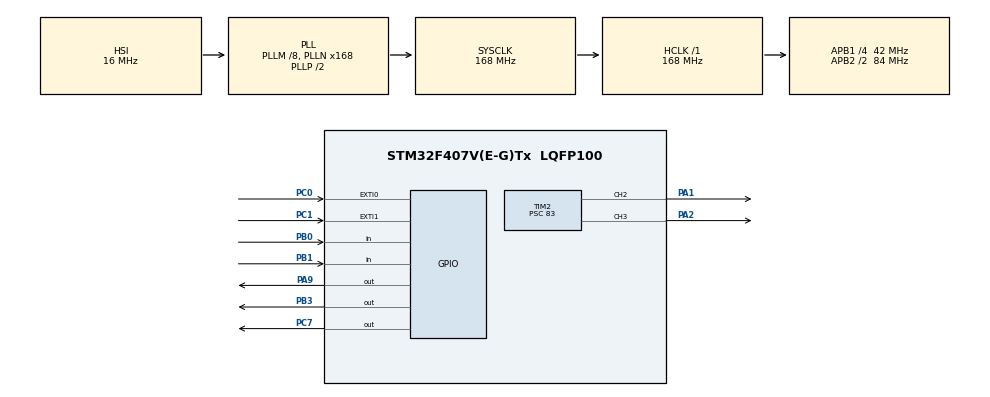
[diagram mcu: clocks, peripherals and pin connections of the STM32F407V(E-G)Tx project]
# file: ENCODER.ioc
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Mcu.Family=STM32F4
Mcu.Name=STM32F407V(E-G)Tx
Mcu.Package=LQFP100
NVIC.PriorityGroup=NVIC_PRIORITYGROUP_4
PA1.Signal=S_TIM2_CH2
PA13.Mode=Serial_Wire
PA13.Signal=SYS_JTMS-SWDIO
PA14.Mode=Serial_Wire
PA14.Signal=SYS_JTCK-SWCLK
PA2.Signal=S_TIM2_CH3
PA9.Signal=GPIO_Output
PB0.GPIO_PuPd=GPIO_PULLUP
PB0.Signal=GPIO_Input
PB1.GPIO_PuPd=GPIO_PULLUP
PB1.Signal=GPIO_Input
PB3.Signal=GPIO_Output
PC0.GPIO_ModeDefaultEXTI=GPIO_MODE_IT_RISING_FALLING
PC0.GPIO_PuPd=GPIO_PULLUP
PC0.Signal=GPXTI0
PC1.GPIO_ModeDefaultEXTI=GPIO_MODE_IT_RISING_FALLING
PC1.GPIO_PuPd=GPIO_PULLUP
PC1.Signal=GPXTI1
PC7.Signal=GPIO_Output
ProjectManager.HeapSize=0x200
ProjectManager.StackSize=0x400
ProjectManager.TargetToolchain=STM32CubeIDE
RCC.48MHZClocksFreq_Value=84000000
RCC.AHBFreq_Value=168000000
RCC.APB1CLKDivider=RCC_HCLK_DIV4
RCC.APB1Freq_Value=42000000
RCC.APB1TimFreq_Value=84000000
RCC.APB2CLKDivider=RCC_HCLK_DIV2
RCC.APB2Freq_Value=84000000
RCC.APB2TimFreq_Value=168000000
RCC.CortexFreq_Value=168000000
RCC.HCLKFreq_Value=168000000
RCC.HSE_VALUE=25000000
RCC.HSI_VALUE=16000000
RCC.LSE_VALUE=32768
RCC.PLLM=8
RCC.PLLN=168
RCC.SYSCLKFreq_VALUE=168000000
RCC.SYSCLKSource=RCC_SYSCLKSOURCE_PLLCLK
RCC.VCOOutputFreq_Value=336000000
SH.S_TIM2_CH2.0=TIM2_CH2,PWM Generation2 CH2
SH.S_TIM2_CH3.0=TIM2_CH3,PWM Generation3 CH3
TIM2.Channel-PWM\ Generation2\ CH2=TIM_CHANNEL_2
TIM2.Channel-PWM\ Generation3\ CH3=TIM_CHANNEL_3
TIM2.Period=1249
TIM2.Prescaler=83
board=custom

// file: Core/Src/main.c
/* USER CODE BEGIN Header */
/**
  ******************************************************************************
  * @file           : main.c
  * @brief          : Main program body
  ******************************************************************************
  * @attention
  *
  * Copyright (c) 2025 STMicroelectronics.
  * All rights reserved.
  *
  * This software is licensed under terms that can be found in the LICENSE file
  * in the root directory of this software component.
  * If no LICENSE file comes with this software, it is provided AS-IS.
  *
  ******************************************************************************
  */
/* USER CODE END Header */
#include "main.h"

/* USER CODE BEGIN Includes */
#include "PID_motor.h"
/* USER CODE END Includes */

TIM_HandleTypeDef htim2;

void SystemClock_Config(void);
static void MX_GPIO_Init(void);
static void MX_TIM2_Init(void);

/* USER CODE BEGIN 0 */
volatile uint8_t A_state = 0, B_state = 0;
volatile uint8_t A2_state = 0, B2_state = 0;
volatile int encoder_value = 0;
volatile int encoder2_value = 0;

void HAL_GPIO_EXTI_Callback(uint16_t GPIO_Pin)
{
    if (GPIO_Pin == GPIO_PIN_0) // Encoder 1
    {
        A_state = HAL_GPIO_ReadPin(GPIOC, GPIO_PIN_0);
        B_state = HAL_GPIO_ReadPin(GPIOB, GPIO_PIN_0);
        if (A_state != B_state) encoder_value++;
        else encoder_value--;
    }
    else if (GPIO_Pin == GPIO_PIN_1) // Encoder 2
    {
        A2_state = HAL_GPIO_ReadPin(GPIOC, GPIO_PIN_1);
        B2_state = HAL_GPIO_ReadPin(GPIOB, GPIO_PIN_1);
        if (A2_state != B2_state) encoder2_value++;
        else encoder2_value--;
    }
}

/* USER CODE END 0 */

int main(void)
{

  /* MCU Configuration--------------------------------------------------------*/

  /* Reset of all peripherals, Initializes the Flash interface and the Systick. */
  HAL_Init();

  /* Configure the system clock */
  SystemClock_Config();

  /* Initialize all configured peripherals */
  MX_GPIO_Init();
  MX_TIM2_Init();
  /* USER CODE BEGIN 2 */

	/* Start Timer and its channels for the motor driver */
	HAL_TIM_Base_Start(&htim2);
	HAL_TIM_PWM_Start(&htim2, TIM_CHANNEL_2);
	HAL_TIM_PWM_Start(&htim2, TIM_CHANNEL_3);

	HAL_GPIO_WritePin(GPIOB, GPIO_PIN_3, 1);

  /* USER CODE END 2 */

  /* Infinite loop */
  while (1)
  {

  }
}

void SystemClock_Config(void)
{
  RCC_OscInitTypeDef RCC_OscInitStruct = {0};
  RCC_ClkInitTypeDef RCC_ClkInitStruct = {0};

  /** Configure the main internal regulator output voltage
  */
  __HAL_RCC_PWR_CLK_ENABLE();
  __HAL_PWR_VOLTAGESCALING_CONFIG(PWR_REGULATOR_VOLTAGE_SCALE1);

  /** Initializes the RCC Oscillators according to the specified parameters
  * in the RCC_OscInitTypeDef structure.
  */
  RCC_OscInitStruct.OscillatorType = RCC_OSCILLATORTYPE_HSI;
  RCC_OscInitStruct.HSIState = RCC_HSI_ON;
  RCC_OscInitStruct.HSICalibrationValue = RCC_HSICALIBRATION_DEFAULT;
  RCC_OscInitStruct.PLL.PLLState = RCC_PLL_ON;
  RCC_OscInitStruct.PLL.PLLSource = RCC_PLLSOURCE_HSI;
  RCC_OscInitStruct.PLL.PLLM = 8;
  RCC_OscInitStruct.PLL.PLLN = 168;
  RCC_OscInitStruct.PLL.PLLP = RCC_PLLP_DIV2;
  RCC_OscInitStruct.PLL.PLLQ = 4;
  if (HAL_RCC_OscConfig(&RCC_OscInitStruct) != HAL_OK)
  {
    Error_Handler();
  }

  /** Initializes the CPU, AHB and APB buses clocks
  */
  RCC_ClkInitStruct.ClockType = RCC_CLOCKTYPE_HCLK|RCC_CLOCKTYPE_SYSCLK
                              |RCC_CLOCKTYPE_PCLK1|RCC_CLOCKTYPE_PCLK2;
  RCC_ClkInitStruct.SYSCLKSource = RCC_SYSCLKSOURCE_PLLCLK;
  RCC_ClkInitStruct.AHBCLKDivider = RCC_SYSCLK_DIV1;
  RCC_ClkInitStruct.APB1CLKDivider = RCC_HCLK_DIV4;
  RCC_ClkInitStruct.APB2CLKDivider = RCC_HCLK_DIV2;

  if (HAL_RCC_ClockConfig(&RCC_ClkInitStruct, FLASH_LATENCY_5) != HAL_OK)
  {
    Error_Handler();
  }
}

static void MX_TIM2_Init(void)
{

  TIM_MasterConfigTypeDef sMasterConfig = {0};
  TIM_OC_InitTypeDef sConfigOC = {0};

  htim2.Instance = TIM2;
  htim2.Init.Prescaler = 83;
  htim2.Init.CounterMode = TIM_COUNTERMODE_UP;
  htim2.Init.Period = 1249;
  htim2.Init.ClockDivision = TIM_CLOCKDIVISION_DIV1;
  htim2.Init.AutoReloadPreload = TIM_AUTORELOAD_PRELOAD_DISABLE;
  if (HAL_TIM_PWM_Init(&htim2) != HAL_OK)
  {
    Error_Handler();
  }
  sMasterConfig.MasterOutputTrigger = TIM_TRGO_RESET;
  sMasterConfig.MasterSlaveMode = TIM_MASTERSLAVEMODE_DISABLE;
  if (HAL_TIMEx_MasterConfigSynchronization(&htim2, &sMasterConfig) != HAL_OK)
  {
    Error_Handler();
  }
  sConfigOC.OCMode = TIM_OCMODE_PWM1;
  sConfigOC.Pulse = 0;
  sConfigOC.OCPolarity = TIM_OCPOLARITY_HIGH;
  sConfigOC.OCFastMode = TIM_OCFAST_DISABLE;
  if (HAL_TIM_PWM_ConfigChannel(&htim2, &sConfigOC, TIM_CHANNEL_2) != HAL_OK)
  {
    Error_Handler();
  }
  if (HAL_TIM_PWM_ConfigChannel(&htim2, &sConfigOC, TIM_CHANNEL_3) != HAL_OK)
  {
    Error_Handler();
  }
  HAL_TIM_MspPostInit(&htim2);

}

static void MX_GPIO_Init(void)
{
  GPIO_InitTypeDef GPIO_InitStruct = {0};

  /* GPIO Ports Clock Enable */
  __HAL_RCC_GPIOC_CLK_ENABLE();
  __HAL_RCC_GPIOA_CLK_ENABLE();
  __HAL_RCC_GPIOB_CLK_ENABLE();

  /*Configure GPIO pin Output Level */
  HAL_GPIO_WritePin(GPIOC, GPIO_PIN_7, GPIO_PIN_RESET);

  /*Configure GPIO pin Output Level */
  HAL_GPIO_WritePin(GPIOA, GPIO_PIN_9, GPIO_PIN_RESET);

  /*Configure GPIO pin Output Level */
  HAL_GPIO_WritePin(GPIOB, GPIO_PIN_3, GPIO_PIN_RESET);

  /*Configure GPIO pins : PC0 PC1 */
  GPIO_InitStruct.Pin = GPIO_PIN_0|GPIO_PIN_1;
  GPIO_InitStruct.Mode = GPIO_MODE_IT_RISING_FALLING;
  GPIO_InitStruct.Pull = GPIO_PULLUP;
  HAL_GPIO_Init(GPIOC, &GPIO_InitStruct);

  /*Configure GPIO pins : PB0 PB1 */
  GPIO_InitStruct.Pin = GPIO_PIN_0|GPIO_PIN_1;
  GPIO_InitStruct.Mode = GPIO_MODE_INPUT;
  GPIO_InitStruct.Pull = GPIO_PULLUP;
  HAL_GPIO_Init(GPIOB, &GPIO_InitStruct);

  /*Configure GPIO pin : PC7 */
  GPIO_InitStruct.Pin = GPIO_PIN_7;
  GPIO_InitStruct.Mode = GPIO_MODE_OUTPUT_PP;
  GPIO_InitStruct.Pull = GPIO_NOPULL;
  GPIO_InitStruct.Speed = GPIO_SPEED_FREQ_LOW;
  HAL_GPIO_Init(GPIOC, &GPIO_InitStruct);

  /*Configure GPIO pin : PA9 */
  GPIO_InitStruct.Pin = GPIO_PIN_9;
  GPIO_InitStruct.Mode = GPIO_MODE_OUTPUT_PP;
  GPIO_InitStruct.Pull = GPIO_NOPULL;
  GPIO_InitStruct.Speed = GPIO_SPEED_FREQ_LOW;
  HAL_GPIO_Init(GPIOA, &GPIO_InitStruct);

  /*Configure GPIO pin : PB3 */
  GPIO_InitStruct.Pin = GPIO_PIN_3;
  GPIO_InitStruct.Mode = GPIO_MODE_OUTPUT_PP;
  GPIO_InitStruct.Pull = GPIO_NOPULL;
  GPIO_InitStruct.Speed = GPIO_SPEED_FREQ_LOW;
  HAL_GPIO_Init(GPIOB, &GPIO_InitStruct);

  /* USER CODE BEGIN MX_GPIO_Init_2 */
  HAL_NVIC_SetPriority(EXTI0_IRQn, 1, 0);
  HAL_NVIC_EnableIRQ(EXTI0_IRQn);

  HAL_NVIC_SetPriority(EXTI1_IRQn, 1, 0);
  HAL_NVIC_EnableIRQ(EXTI1_IRQn);

  /* USER CODE END MX_GPIO_Init_2 */
}

void Error_Handler(void)
{
  __disable_irq();
  while (1)
  {
  }
}
